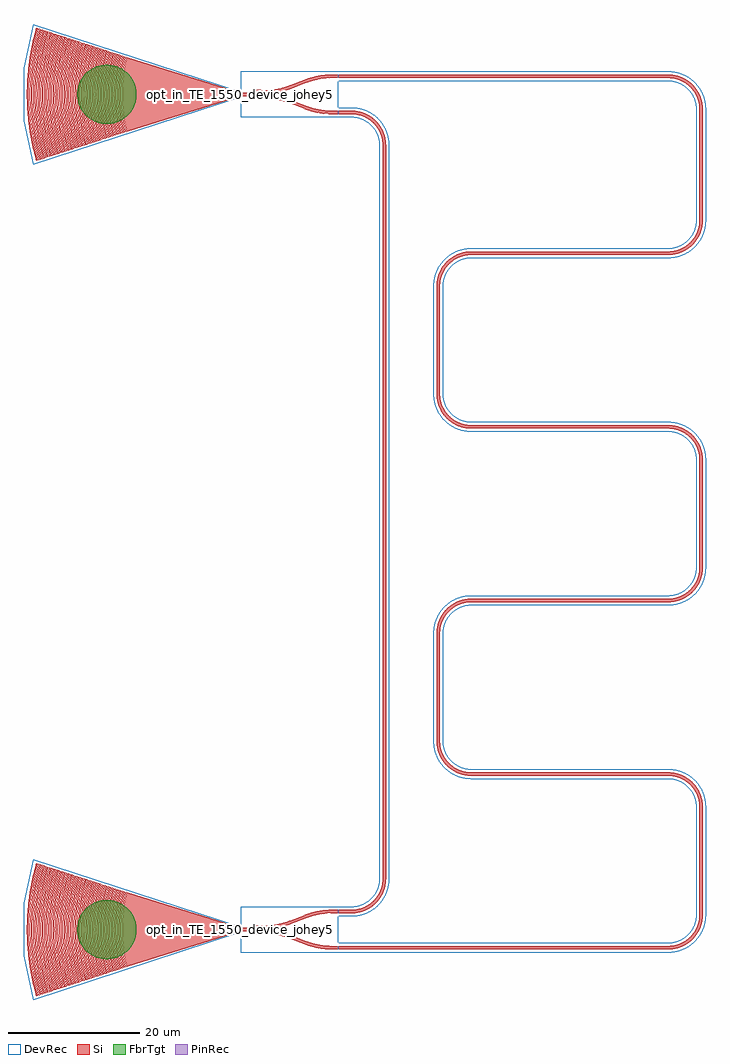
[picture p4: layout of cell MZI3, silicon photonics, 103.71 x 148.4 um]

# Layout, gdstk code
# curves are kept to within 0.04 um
import gdstk
lib = gdstk.Library(unit=1e-6, precision=1e-09)
def R(c, l, rs):  # rectangles x0, y0, x1, y1
    for r in rs: c.add(gdstk.rectangle(r[:2], r[2:], *l))
def P(c, l, *ps):  # polygons
    for p in ps: c.add(gdstk.Polygon(p, *l))
Si = (1, 0)
PinRec = (1, 10)
DevRec = (68, 0)
FbrTgt = (81, 0)

te1550_subgc_neg31_oxide = lib.new_cell('TE1550_SubGC_neg31_oxide')
P(te1550_subgc_neg31_oxide, Si, [(-17.556,-5.704),(-17.743,-4.914),(-17.881,-4.233),(-18.016,-3.437),(-18.095,-2.866),(-18.165,-2.237),(-18.222,-1.549),(-18.256,-0.918),(-18.274,-0.115),(-18.264,0.689),(-18.233,1.377),(-18.176,2.122),(-18.095,2.866),(-18.016,3.437),(-17.881,4.233),(-17.743,4.914),(-17.556,5.704),(-17.481,5.68),(-17.643,5.006),(-17.784,4.329),(-17.922,3.536),(-18.032,2.74),(-18.104,2.056),(-18.148,1.486),(-18.186,0.686),(-18.196,0.114),(-18.189,-0.572),(-18.165,-1.2),(-18.123,-1.828),(-18.058,-2.512),(-17.948,-3.365),(-17.826,-4.102),(-17.668,-4.893),(-17.481,-5.68)],
  [(-17.906,-5.818),(-18.207,-4.492),(-18.452,-2.982),(-18.601,-1.405),(-18.643,-0.117),(-18.601,1.405),(-18.452,2.982),(-18.207,4.492),(-17.906,5.818),(-17.659,5.738),(-17.932,4.544),(-18.188,2.998),(-18.338,1.443),(-18.383,0.116),(-18.338,-1.443),(-18.188,-2.998),(-17.932,-4.544),(-17.659,-5.738)],
  [(-18.084,-5.876),(-18.24,-5.237),(-18.4,-4.479),(-18.525,-3.776),(-18.629,-3.071),(-18.717,-2.305),(-18.772,-1.656),(-18.811,-0.946),(-18.83,-0.118),(-18.823,0.592),(-18.791,1.36),(-18.739,2.069),(-18.644,2.953),(-18.544,3.658),(-18.4,4.479),(-18.24,5.237),(-18.084,5.876),(-18.01,5.852),(-18.204,5.041),(-18.368,4.227),(-18.503,3.409),(-18.609,2.589),(-18.713,1.354),(-18.745,0.589),(-18.752,0.118),(-18.745,-0.589),(-18.713,-1.354),(-18.609,-2.589),(-18.503,-3.409),(-18.368,-4.227),(-18.204,-5.041),(-18.01,-5.852)],
  [(-18.435,-5.99),(-18.77,-4.506),(-19.001,-3.071),(-19.135,-1.748),(-19.199,-0.121),(-19.159,1.387),(-19.001,3.071),(-18.77,4.506),(-18.435,5.99),(-18.188,5.91),(-18.517,4.445),(-18.744,3.029),(-18.896,1.427),(-18.939,0.119),(-18.896,-1.427),(-18.759,-2.911),(-18.517,-4.445),(-18.188,-5.91)],
  [(-18.613,-6.048),(-18.815,-5.211),(-18.963,-4.49),(-19.099,-3.705),(-19.201,-2.979),(-19.269,-2.373),(-19.338,-1.522),(-19.369,-0.913),(-19.386,-0.122),(-19.377,0.67),(-19.349,1.339),(-19.286,2.191),(-19.201,2.979),(-19.099,3.705),(-18.963,4.49),(-18.815,5.211),(-18.613,6.048),(-18.539,6.024),(-18.713,5.309),(-18.876,4.532),(-19.013,3.751),(-19.131,2.907),(-19.203,2.242),(-19.264,1.455),(-19.291,0.91),(-19.308,0.121),(-19.299,-0.667),(-19.271,-1.334),(-19.239,-1.819),(-19.166,-2.605),(-19.076,-3.329),(-18.91,-4.352),(-18.753,-5.13),(-18.539,-6.024)],
  [(-18.964,-6.162),(-19.262,-4.881),(-19.533,-3.283),(-19.689,-1.799),(-19.755,-0.124),(-19.717,1.365),(-19.573,2.974),(-19.334,4.513),(-18.964,6.162),(-18.717,6.081),(-19.046,4.636),(-19.301,3.057),(-19.43,1.775),(-19.495,0.122),(-19.454,-1.408),(-19.301,-3.057),(-19.046,-4.636),(-18.717,-6.081)],
  [(-19.142,-6.22),(-19.337,-5.421),(-19.48,-4.742),(-19.625,-3.936),(-19.726,-3.251),(-19.808,-2.566),(-19.884,-1.691),(-19.924,-0.94),(-19.942,-0.125),(-19.934,0.626),(-19.9,1.44),(-19.833,2.316),(-19.758,3.002),(-19.635,3.874),(-19.516,4.556),(-19.337,5.421),(-19.142,6.22),(-19.068,6.195),(-19.289,5.277),(-19.44,4.538),(-19.587,3.673),(-19.696,2.866),(-19.772,2.12),(-19.822,1.435),(-19.853,0.749),(-19.864,0.125),(-19.853,-0.749),(-19.822,-1.435),(-19.772,-2.12),(-19.696,-2.866),(-19.587,-3.673),(-19.44,-4.538),(-19.289,-5.277),(-19.068,-6.195)],
  [(-19.493,-6.334),(-19.839,-4.829),(-20.107,-3.185),(-20.256,-1.658),(-20.311,-0.128),(-20.268,1.467),(-20.107,3.185),(-19.839,4.829),(-19.493,6.334),(-19.246,6.253),(-19.574,4.829),(-19.842,3.207),(-19.997,1.637),(-20.051,0.126),(-20.005,-1.511),(-19.866,-3.019),(-19.622,-4.581),(-19.246,-6.253)],
  [(-19.671,-6.391),(-19.843,-5.697),(-20.008,-4.937),(-20.149,-4.173),(-20.283,-3.278),(-20.379,-2.444),(-20.438,-1.738),(-20.482,-0.901),(-20.498,-0.129),(-20.482,0.901),(-20.438,1.738),(-20.379,2.444),(-20.283,3.278),(-20.149,4.173),(-20.008,4.937),(-19.843,5.697),(-19.671,6.391),(-19.597,6.367),(-19.797,5.55),(-20.005,4.538),(-20.153,3.648),(-20.246,2.946),(-20.325,2.179),(-20.373,1.539),(-20.404,0.898),(-20.42,0.128),(-20.412,-0.641),(-20.384,-1.347),(-20.336,-2.051),(-20.261,-2.819),(-20.153,-3.648),(-20.017,-4.474),(-19.825,-5.424),(-19.597,-6.367)],
  [(-20.022,-6.505),(-20.392,-4.896),(-20.656,-3.272),(-20.81,-1.704),(-20.867,-0.131),(-20.81,1.704),(-20.656,3.272),(-20.392,4.896),(-20.022,6.505),(-19.774,6.425),(-20.139,4.835),(-20.382,3.36),(-20.542,1.812),(-20.607,0.129),(-20.567,-1.424),(-20.399,-3.231),(-20.139,-4.835),(-19.774,-6.425)],
  [(-20.199,-6.563),(-20.437,-5.591),(-20.599,-4.809),(-20.726,-4.089),(-20.832,-3.367),(-20.931,-2.511),(-20.992,-1.785),(-21.04,-0.86),(-21.054,-0.132),(-21.044,0.728),(-21.001,1.653),(-20.931,2.511),(-20.849,3.235),(-20.726,4.089),(-20.599,4.809),(-20.437,5.591),(-20.199,6.563),(-20.125,6.539),(-20.347,5.635),(-20.523,4.791),(-20.67,3.943),(-20.804,2.961),(-20.878,2.239),(-20.923,1.647),(-20.962,0.857),(-20.976,0.132),(-20.966,-0.725),(-20.935,-1.449),(-20.878,-2.239),(-20.804,-2.961),(-20.67,-3.943),(-20.523,-4.791),(-20.347,-5.635),(-20.125,-6.539)],
  [(-20.55,-6.677),(-20.906,-5.158),(-21.205,-3.359),(-21.355,-1.883),(-21.423,-0.135),(-21.373,1.615),(-21.205,3.359),(-20.906,5.158),(-20.55,6.677),(-20.303,6.597),(-20.705,4.833),(-20.957,3.252),(-21.105,1.728),(-21.163,0.133),(-21.105,-1.728),(-20.957,-3.252),(-20.705,-4.833),(-20.303,-6.597)],
  [(-20.728,-6.735),(-20.912,-6.004),(-21.101,-5.136),(-21.249,-4.331),(-21.372,-3.523),(-21.483,-2.577),(-21.546,-1.832),(-21.593,-0.95),(-21.61,-0.136),(-21.593,0.95),(-21.555,1.696),(-21.483,2.577),(-21.39,3.388),(-21.249,4.331),(-21.101,5.136),(-20.912,6.004),(-20.728,6.735),(-20.654,6.711),(-20.868,5.85),(-21.025,5.118),(-21.195,4.181),(-21.33,3.241),(-21.412,2.5),(-21.473,1.758),(-21.515,0.947),(-21.532,0.135),(-21.525,-0.609),(-21.497,-1.352),(-21.448,-2.095),(-21.37,-2.904),(-21.237,-3.913),(-21.077,-4.85),(-20.868,-5.85),(-20.654,-6.711)],
  [(-21.079,-6.849),(-21.432,-5.359),(-21.736,-3.583),(-21.923,-1.725),(-21.979,-0.138),(-21.923,1.725),(-21.772,3.308),(-21.473,5.155),(-21.079,6.849),(-20.832,6.769),(-21.207,5.162),(-21.47,3.608),(-21.664,1.705),(-21.719,0.136),(-21.664,-1.705),(-21.515,-3.269),(-21.207,-5.162),(-20.832,-6.769)],
  [(-21.257,-6.907),(-21.494,-5.953),(-21.655,-5.199),(-21.817,-4.304),(-21.93,-3.544),(-22.042,-2.574),(-22.105,-1.81),(-22.146,-1.044),(-22.166,-0.139),(-22.159,0.627),(-22.114,1.67),(-22.042,2.574),(-21.957,3.336),(-21.817,4.304),(-21.655,5.199),(-21.494,5.953),(-21.257,6.907),(-21.183,6.883),(-21.419,5.932),(-21.606,5.044),(-21.773,4.083),(-21.888,3.256),(-21.971,2.495),(-22.036,1.665),(-22.073,0.902),(-22.088,0.139),(-22.081,-0.624),(-22.052,-1.387),(-22.001,-2.149),(-21.905,-3.117),(-21.773,-4.083),(-21.606,-5.044),(-21.419,-5.932),(-21.183,-6.883)],
  [(-21.608,-7.021),(-21.985,-5.425),(-22.294,-3.603),(-22.482,-1.698),(-22.535,-0.142),(-22.482,1.698),(-22.294,3.603),(-21.985,5.425),(-21.608,7.021),(-21.361,6.941),(-21.761,5.224),(-22.028,3.631),(-22.218,1.749),(-22.275,0.14),(-22.227,-1.609),(-22.073,-3.283),(-21.788,-5.086),(-21.361,-6.941)],
  [(-21.786,-7.079),(-21.964,-6.381),(-22.167,-5.469),(-22.302,-4.765),(-22.469,-3.704),(-22.565,-2.923),(-22.649,-1.997),(-22.704,-0.999),(-22.722,-0.143),(-22.713,0.714),(-22.677,1.57),(-22.601,2.567),(-22.488,3.562),(-22.374,4.341),(-22.195,5.329),(-22.03,6.101),(-21.786,7.079),(-21.712,7.055),(-21.922,6.22),(-22.161,5.1),(-22.308,4.256),(-22.447,3.267),(-22.53,2.487),(-22.586,1.778),(-22.626,0.996),(-22.644,0.142),(-22.635,-0.711),(-22.595,-1.635),(-22.53,-2.487),(-22.447,-3.267),(-22.308,-4.256),(-22.161,-5.1),(-21.922,-6.22),(-21.712,-7.055)],
  [(-22.137,-7.193),(-22.54,-5.486),(-22.843,-3.692),(-23.011,-2.102),(-23.091,-0.145),(-23.045,1.595),(-22.862,3.547),(-22.54,5.486),(-22.137,7.193),(-21.89,7.112),(-22.287,5.425),(-22.596,3.579),(-22.777,1.721),(-22.831,0.143),(-22.777,-1.721),(-22.596,-3.579),(-22.287,-5.425),(-21.89,-7.112)],
  [(-22.315,-7.25),(-22.549,-6.321),(-22.736,-5.458),(-22.895,-4.592),(-23.047,-3.576),(-23.139,-2.776),(-23.218,-1.827),(-23.262,-0.951),(-23.278,-0.146),(-23.262,0.951),(-23.218,1.827),(-23.139,2.776),(-23.047,3.576),(-22.895,4.592),(-22.736,5.458),(-22.549,6.321),(-22.315,7.25),(-22.24,7.226),(-22.457,6.372),(-22.646,5.512),(-22.843,4.432),(-22.979,3.492),(-23.076,2.621),(-23.145,1.748),(-23.184,0.947),(-23.2,0.146),(-23.194,-0.583),(-23.158,-1.53),(-23.102,-2.33),(-23.006,-3.274),(-22.899,-4.071),(-22.73,-5.081),(-22.507,-6.157),(-22.24,-7.226)],
  [(-22.666,-7.364),(-23.095,-5.545),(-23.392,-3.78),(-23.581,-1.93),(-23.647,-0.149),(-23.586,1.856),(-23.421,3.559),(-23.095,5.545),(-22.666,7.364),(-22.418,7.284),(-22.842,5.484),(-23.145,3.666),(-23.311,2.056),(-23.387,0.147),(-23.336,-1.689),(-23.145,-3.666),(-22.842,-5.484),(-22.418,-7.284)],
  [(-22.843,-7.422),(-23.067,-6.545),(-23.262,-5.662),(-23.441,-4.701),(-23.556,-3.959),(-23.691,-2.842),(-23.762,-2.02),(-23.815,-1.048),(-23.834,-0.15),(-23.82,0.898),(-23.782,1.721),(-23.713,2.618),(-23.606,3.587),(-23.441,4.701),(-23.277,5.588),(-23.067,6.545),(-22.843,7.422),(-22.769,7.398),(-22.992,6.523),(-23.201,5.57),(-23.389,4.538),(-23.538,3.501),(-23.642,2.535),(-23.704,1.716),(-23.742,0.895),(-23.756,0.149),(-23.742,-0.895),(-23.704,-1.716),(-23.642,-2.535),(-23.565,-3.278),(-23.401,-4.464),(-23.23,-5.423),(-22.992,-6.523),(-22.769,-7.398)],
  [(-23.194,-7.536),(-23.605,-5.824),(-23.951,-3.793),(-24.135,-1.976),(-24.203,-0.152),(-24.15,1.748),(-23.961,3.718),(-23.605,5.824),(-23.194,7.536),(-22.947,7.456),(-23.368,5.688),(-23.684,3.827),(-23.876,1.955),(-23.943,0.15),(-23.886,-1.804),(-23.704,-3.678),(-23.383,-5.614),(-22.947,-7.456)],
  [(-23.372,-7.594),(-23.602,-6.696),(-23.802,-5.793),(-23.96,-4.962),(-24.115,-3.975),(-24.219,-3.137),(-24.316,-2.067),(-24.373,-0.996),(-24.39,-0.153),(-24.373,0.996),(-24.316,2.067),(-24.219,3.137),(-24.115,3.975),(-23.96,4.962),(-23.802,5.793),(-23.602,6.696),(-23.372,7.594),(-23.298,7.57),(-23.562,6.525),(-23.801,5.399),(-23.971,4.417),(-24.088,3.583),(-24.188,2.67),(-24.249,1.908),(-24.295,0.993),(-24.312,0.153),(-24.3,-0.84),(-24.263,-1.68),(-24.195,-2.594),(-24.088,-3.583),(-23.971,-4.417),(-23.801,-5.399),(-23.562,-6.525),(-23.298,-7.57)],
  [(-23.723,-7.708),(-24.145,-5.957),(-24.479,-4.035),(-24.678,-2.176),(-24.759,-0.156),(-24.709,1.71),(-24.5,3.88),(-24.145,5.957),(-23.723,7.708),(-23.476,7.628),(-23.908,5.819),(-24.233,3.916),(-24.43,2),(-24.499,0.154),(-24.43,-2),(-24.233,-3.916),(-23.908,-5.819),(-23.476,-7.628)],
  [(-23.901,-7.766),(-24.137,-6.848),(-24.358,-5.848),(-24.518,-4.997),(-24.674,-3.987),(-24.779,-3.13),(-24.87,-2.115),(-24.916,-1.332),(-24.946,-0.157),(-24.931,0.94),(-24.891,1.802),(-24.803,2.896),(-24.695,3.832),(-24.531,4.92),(-24.358,5.848),(-24.137,6.848),(-23.901,7.766),(-23.827,7.742),(-24.098,6.674),(-24.313,5.676),(-24.493,4.672),(-24.638,3.665),(-24.733,2.809),(-24.803,1.952),(-24.848,1.094),(-24.868,0.156),(-24.858,-0.781),(-24.818,-1.718),(-24.733,-2.809),(-24.638,-3.665),(-24.493,-4.672),(-24.313,-5.676),(-24.098,-6.674),(-23.827,-7.742)],
  [(-24.252,-7.88),(-24.717,-5.934),(-25.049,-3.967),(-25.232,-2.225),(-25.315,-0.159),(-25.259,1.828),(-25.07,3.809),(-24.717,5.934),(-24.252,7.88),(-24.005,7.8),(-24.464,5.873),(-24.782,4.005),(-24.973,2.202),(-25.055,0.157),(-25.009,-1.652),(-24.803,-3.848),(-24.464,-5.873),(-24.005,-7.8)],
  [(-24.43,-7.938),(-24.709,-6.843),(-24.866,-6.135),(-25.049,-5.187),(-25.234,-3.997),(-25.339,-3.12),(-25.424,-2.162),(-25.478,-1.202),(-25.502,-0.16),(-25.489,0.881),(-25.435,2.002),(-25.339,3.12),(-25.234,3.997),(-25.049,5.187),(-24.866,6.135),(-24.709,6.843),(-24.43,7.938),(-24.356,7.914),(-24.634,6.822),(-24.839,5.881),(-25,5.014),(-25.178,3.826),(-25.278,2.952),(-25.352,2.075),(-25.397,1.278),(-25.424,0.16),(-25.409,-0.958),(-25.377,-1.677),(-25.293,-2.792),(-25.198,-3.667),(-25.052,-4.697),(-24.839,-5.881),(-24.634,-6.822),(-24.356,-7.914)],
  [(-24.781,-8.052),(-25.241,-6.144),(-25.576,-4.216),(-25.803,-2.031),(-25.871,-0.163),(-25.803,2.031),(-25.609,3.974),(-25.274,5.984),(-24.781,8.052),(-24.533,7.971),(-24.972,6.161),(-25.308,4.253),(-25.544,2.01),(-25.611,0.161),(-25.544,-2.01),(-25.352,-3.934),(-25.021,-5.924),(-24.533,-7.971)],
  [(-24.959,-8.11),(-25.187,-7.232),(-25.423,-6.188),(-25.635,-5.057),(-25.772,-4.165),(-25.891,-3.188),(-25.984,-2.127),(-26.03,-1.31),(-26.058,-0.164),(-26.045,0.9),(-25.995,1.964),(-25.891,3.188),(-25.794,4.002),(-25.635,5.057),(-25.423,6.188),(-25.187,7.232),(-24.959,8.11),(-24.884,8.085),(-25.15,7.051),(-25.38,6.009),(-25.572,4.961),(-25.738,3.828),(-25.846,2.853),(-25.917,1.958),(-25.967,0.898),(-25.98,0.163),(-25.967,-0.898),(-25.932,-1.713),(-25.868,-2.609),(-25.768,-3.585),(-25.624,-4.638),(-25.412,-5.848),(-25.207,-6.811),(-24.884,-8.085)],
  [(-25.31,-8.224),(-25.815,-6.112),(-26.136,-4.224),(-26.357,-2.074),(-26.427,-0.166),(-26.368,1.909),(-26.18,3.894),(-25.815,6.112),(-25.31,8.224),(-25.062,8.143),(-25.512,6.295),(-25.868,4.264),(-26.098,2.054),(-26.167,0.164),(-26.123,-1.644),(-25.923,-3.856),(-25.562,-6.052),(-25.062,-8.143)],
  [(-25.487,-8.281),(-25.761,-7.222),(-25.946,-6.402),(-26.152,-5.33),(-26.321,-4.254),(-26.451,-3.173),(-26.532,-2.256),(-26.589,-1.254),(-26.614,-0.167),(-26.598,1.003),(-26.538,2.172),(-26.451,3.173),(-26.321,4.254),(-26.152,5.33),(-25.946,6.402),(-25.761,7.222),(-25.487,8.281),(-25.413,8.257),(-25.686,7.201),(-25.921,6.137),(-26.118,5.067),(-26.288,3.91),(-26.374,3.164),(-26.466,2.083),(-26.511,1.25),(-26.536,0.167),(-26.525,-0.834),(-26.482,-1.833),(-26.406,-2.831),(-26.288,-3.91),(-26.118,-5.067),(-25.921,-6.137),(-25.686,-7.201),(-25.413,-8.257)],
  [(-25.838,-8.395),(-26.339,-6.323),(-26.685,-4.312),(-26.887,-2.456),(-26.983,-0.17),(-26.917,2.033),(-26.708,4.144),(-26.356,6.24),(-25.838,8.395),(-25.591,8.315),(-26.086,6.263),(-26.44,4.188),(-26.658,2.014),(-26.723,0.168),(-26.658,-2.014),(-26.44,-4.188),(-26.086,-6.263),(-25.591,-8.315)],
  [(-26.016,-8.453),(-26.256,-7.539),(-26.503,-6.451),(-26.697,-5.441),(-26.858,-4.427),(-26.976,-3.494),(-27.086,-2.303),(-27.144,-1.28),(-27.17,-0.085),(-27.156,0.939),(-27.098,2.133),(-27.012,3.154),(-26.893,4.173),(-26.726,5.272),(-26.538,6.283),(-26.256,7.539),(-26.016,8.453),(-25.942,8.429),(-26.261,7.184),(-26.479,6.181),(-26.664,5.173),(-26.838,3.992),(-26.943,3.06),(-27.026,2.042),(-27.078,0.936),(-27.092,0.085),(-27.078,-0.936),(-27.026,-2.042),(-26.943,-3.06),(-26.838,-3.992),(-26.664,-5.173),(-26.479,-6.181),(-26.261,-7.184),(-25.942,-8.429)],
  [(-26.367,-8.567),(-26.897,-6.368),(-27.246,-4.315),(-27.466,-2.162),(-27.539,-0.087),(-27.466,2.162),(-27.246,4.315),(-26.897,6.368),(-26.367,8.567),(-26.12,8.487),(-26.644,6.308),(-26.989,4.275),(-27.218,1.97),(-27.279,0.086),(-27.218,-1.97),(-26.989,-4.275),(-26.644,-6.308),(-26.12,-8.487)],
  [(-26.545,-8.625),(-26.832,-7.522),(-27.079,-6.411),(-27.286,-5.294),(-27.442,-4.258),(-27.573,-3.132),(-27.658,-2.089),(-27.712,-0.958),(-27.726,-0.087),(-27.712,0.958),(-27.658,2.089),(-27.573,3.132),(-27.442,4.258),(-27.286,5.294),(-27.079,6.411),(-26.832,7.522),(-26.545,8.625),(-26.471,8.601),(-26.777,7.416),(-27.003,6.393),(-27.195,5.365),(-27.365,4.246),(-27.487,3.209),(-27.586,1.997),(-27.634,0.955),(-27.648,0.087),(-27.634,-0.955),(-27.586,-1.997),(-27.52,-2.863),(-27.42,-3.815),(-27.265,-4.935),(-27.071,-6.051),(-26.817,-7.246),(-26.63,-8.01),(-26.471,-8.601)],
  [(-26.896,-8.739),(-27.402,-6.67),(-27.783,-4.49),(-28.014,-2.293),(-28.095,-0.088),(-28.026,2.117),(-27.807,4.315),(-27.438,6.496),(-26.896,8.739),(-26.649,8.659),(-27.185,6.436),(-27.55,4.275),(-27.761,2.185),(-27.835,0.087),(-27.761,-2.185),(-27.55,-4.275),(-27.185,-6.436),(-26.649,-8.659)],
  [(-27.074,-8.797),(-27.346,-7.759),(-27.602,-6.627),(-27.802,-5.576),(-27.955,-4.608),(-28.098,-3.46),(-28.194,-2.397),(-28.255,-1.332),(-28.282,-0.089),(-28.265,1.066),(-28.218,2.042),(-28.134,3.106),(-28.015,4.167),(-27.832,5.4),(-27.62,6.539),(-27.346,7.759),(-27.074,8.797),(-27,8.773),(-27.292,7.651),(-27.544,6.521),(-27.77,5.297),(-27.949,4.067),(-28.048,3.186),(-28.129,2.214),(-28.184,1.152),(-28.204,0.089),(-28.187,-1.063),(-28.146,-1.948),(-28.073,-2.921),(-27.949,-4.067),(-27.77,-5.297),(-27.544,-6.521),(-27.292,-7.651),(-27,-8.773)],
  [(-27.425,-8.911),(-27.979,-6.624),(-28.344,-4.489),(-28.568,-2.339),(-28.651,-0.09),(-28.568,2.339),(-28.344,4.489),(-27.979,6.624),(-27.425,8.911),(-27.177,8.83),(-27.708,6.652),(-28.075,4.537),(-28.309,2.317),(-28.391,0.089),(-28.309,-2.317),(-28.075,-4.537),(-27.708,-6.652),(-27.177,-8.83)],
  [(-27.603,-8.969),(-27.881,-7.91),(-28.124,-6.845),(-28.347,-5.685),(-28.529,-4.518),(-28.678,-3.257),(-28.761,-2.264),(-28.814,-1.268),(-28.838,-0.091),(-28.826,0.906),(-28.761,2.264),(-28.678,3.257),(-28.529,4.518),(-28.347,5.685),(-28.124,6.845),(-27.881,7.91),(-27.603,8.969),(-27.528,8.944),(-27.806,7.889),(-28.085,6.649),(-28.316,5.402),(-28.476,4.327),(-28.582,3.428),(-28.677,2.348),(-28.736,1.265),(-28.76,0.09),(-28.748,-0.903),(-28.695,-2.077),(-28.609,-3.158),(-28.499,-4.147),(-28.331,-5.312),(-28.121,-6.472),(-27.87,-7.624),(-27.528,-8.944)],
  [(-27.953,-9.083),(-28.52,-6.752),(-28.893,-4.576),(-29.135,-2.201),(-29.207,-0.092),(-29.135,2.201),(-28.918,4.394),(-28.52,6.752),(-27.953,9.083),(-27.706,9.002),(-28.23,6.871),(-28.624,4.626),(-28.863,2.363),(-28.947,0.091),(-28.887,-2),(-28.649,-4.445),(-28.23,-6.871),(-27.706,-9.002)],
  [(-28.131,-9.14),(-28.416,-8.062),(-28.645,-7.068),(-28.86,-5.977),(-29.078,-4.605),(-29.221,-3.412),(-29.315,-2.307),(-29.373,-1.2),(-29.394,-0.092),(-29.373,1.2),(-29.315,2.307),(-29.221,3.412),(-29.078,4.605),(-28.86,5.977),(-28.645,7.068),(-28.416,8.062),(-28.131,9.14),(-28.057,9.116),(-28.363,7.951),(-28.663,6.596),(-28.892,5.323),(-29.061,4.136),(-29.179,3.036),(-29.255,2.025),(-29.301,1.013),(-29.316,0.092),(-29.301,-1.013),(-29.255,-2.025),(-29.179,-3.036),(-29.061,-4.136),(-28.892,-5.323),(-28.663,-6.596),(-28.363,-7.951),(-28.057,-9.116)],
  [(-28.482,-9.254),(-29.003,-7.156),(-29.416,-4.849),(-29.683,-2.336),(-29.763,-0.094),(-29.683,2.336),(-29.455,4.57),(-29.042,6.972),(-28.482,9.254),(-28.235,9.174),(-28.77,7.003),(-29.173,4.714),(-29.424,2.316),(-29.503,0.093),(-29.424,-2.316),(-29.173,-4.714),(-28.77,-7.003),(-28.235,-9.174)],
  [(-28.66,-9.312),(-28.928,-8.306),(-29.224,-7.016),(-29.421,-5.996),(-29.601,-4.879),(-29.733,-3.851),(-29.863,-2.445),(-29.925,-1.317),(-29.95,-0.094),(-29.937,0.941),(-29.882,2.163),(-29.792,3.289),(-29.64,4.599),(-29.437,5.904),(-29.224,7.016),(-28.928,8.306),(-28.66,9.312),(-28.586,9.288),(-28.898,8.101),(-29.148,6.998),(-29.393,5.703),(-29.563,4.587),(-29.696,3.467),(-29.798,2.251),(-29.847,1.314),(-29.872,0.094),(-29.862,-0.845),(-29.798,-2.251),(-29.696,-3.467),(-29.563,-4.587),(-29.393,-5.703),(-29.148,-6.998),(-28.898,-8.101),(-28.586,-9.288)],
  [(-29.011,-9.426),(-29.563,-7.196),(-29.965,-4.939),(-30.237,-2.38),(-30.319,-0.095),(-30.25,2.19),(-30.017,4.561),(-29.602,7.008),(-29.011,9.426),(-28.764,9.346),(-29.33,7.041),(-29.735,4.709),(-29.978,2.359),(-30.059,0.094),(-29.978,-2.359),(-29.735,-4.709),(-29.33,-7.041),(-28.764,-9.346)],
  [(-29.189,-9.484),(-29.554,-8.085),(-29.784,-7.052),(-29.999,-5.918),(-30.163,-4.874),(-30.295,-3.827),(-30.417,-2.49),(-30.484,-1.246),(-30.506,-0.096),(-30.484,1.246),(-30.417,2.49),(-30.295,3.827),(-30.163,4.874),(-29.999,5.918),(-29.784,7.052),(-29.554,8.085),(-29.189,9.484),(-29.115,9.46),(-29.456,8.158),(-29.708,7.034),(-29.97,5.62),(-30.125,4.577),(-30.248,3.532),(-30.346,2.388),(-30.406,1.242),(-30.428,0.096),(-30.406,-1.242),(-30.346,-2.388),(-30.248,-3.532),(-30.125,-4.577),(-29.97,-5.62),(-29.708,-7.034),(-29.456,-8.158),(-29.115,-9.46)],
  [(-29.54,-9.598),(-30.143,-7.137),(-30.554,-4.741),(-30.798,-2.327),(-30.875,-0.097),(-30.798,2.327),(-30.554,4.741),(-30.143,7.137),(-29.54,9.598),(-29.293,9.518),(-29.89,7.077),(-30.284,4.796),(-30.539,2.307),(-30.615,0.096),(-30.539,-2.307),(-30.284,-4.796),(-29.89,-7.077),(-29.293,-9.518)],
  [(-29.718,-9.656),(-29.997,-8.613),(-30.285,-7.371),(-30.493,-6.315),(-30.712,-4.963),(-30.857,-3.8),(-30.964,-2.633),(-31.036,-1.366),(-31.062,-0.098),(-31.046,1.073),(-30.991,2.243),(-30.897,3.411),(-30.752,4.673),(-30.561,5.929),(-30.345,7.084),(-30.044,8.422),(-29.718,9.656),(-29.643,9.632),(-29.969,8.401),(-30.269,7.066),(-30.501,5.818),(-30.7,4.468),(-30.829,3.306),(-30.907,2.335),(-30.965,1.168),(-30.984,0.097),(-30.965,-1.168),(-30.907,-2.335),(-30.829,-3.306),(-30.7,-4.468),(-30.501,-5.818),(-30.269,-7.066),(-29.969,-8.401),(-29.643,-9.632)],
  [(-30.069,-9.77),(-30.664,-7.362),(-31.09,-4.924),(-31.346,-2.467),(-31.431,-0.099),(-31.346,2.467),(-31.09,4.924),(-30.664,7.362),(-30.069,9.77),(-29.821,9.69),(-30.411,7.301),(-30.833,4.883),(-31.093,2.349),(-31.171,0.098),(-31.093,-2.349),(-30.833,-4.883),(-30.411,-7.301),(-29.821,-9.69)],
  [(-30.246,-9.828),(-30.603,-8.475),(-30.866,-7.308),(-31.107,-6.035),(-31.288,-4.855),(-31.43,-3.67),(-31.539,-2.382),(-31.595,-1.291),(-31.618,-0.099),(-31.595,1.291),(-31.539,2.382),(-31.43,3.67),(-31.288,4.855),(-31.107,6.035),(-30.866,7.308),(-30.603,8.475),(-30.246,9.828),(-30.172,9.804),(-30.528,8.455),(-30.77,7.387),(-30.907,6.705),(-31.047,5.922),(-31.211,4.843),(-31.342,3.759),(-31.461,2.377),(-31.517,1.288),(-31.54,0.099),(-31.529,-0.892),(-31.474,-2.179),(-31.391,-3.266),(-31.25,-4.548),(-31.047,-5.922),(-30.83,-7.095),(-30.528,-8.455),(-30.172,-9.804)],
  [(-30.597,-9.942),(-31.225,-7.393),(-31.625,-5.111),(-31.893,-2.611),(-31.987,-0.1),(-31.907,2.41),(-31.653,4.911),(-31.225,7.393),(-30.597,9.942),(-30.35,9.861),(-30.931,7.529),(-31.396,4.872),(-31.641,2.49),(-31.727,0.1),(-31.641,-2.49),(-31.396,-4.872),(-30.931,-7.529),(-30.35,-9.861)],
  [(-30.775,-9.999),(-31.09,-8.821),(-31.344,-7.734),(-31.564,-6.64),(-31.795,-5.241),(-31.95,-4.036),(-32.072,-2.727),(-32.129,-1.819),(-32.154,-1.213),(-32.174,-0.101),(-32.154,1.213),(-32.1,2.323),(-32.012,3.432),(-31.851,4.84),(-31.686,5.941),(-31.428,7.337),(-31.139,8.624),(-30.775,9.999),(-30.701,9.975),(-31.015,8.8),(-31.18,8.11),(-31.352,7.319),(-31.593,6.027),(-31.774,4.828),(-31.915,3.625),(-32.009,2.519),(-32.069,1.411),(-32.096,0.101),(-32.076,-1.21),(-32.009,-2.519),(-31.915,-3.625),(-31.774,-4.828),(-31.593,-6.027),(-31.352,-7.319),(-31.18,-8.11),(-31.015,-8.8),(-30.701,-9.975)],
  [(-31.126,-10.114),(-31.724,-7.722),(-32.174,-5.199),(-32.447,-2.656),(-32.543,-0.102),(-32.519,1.329),(-32.447,2.656),(-32.174,5.199),(-31.724,7.722),(-31.126,10.114),(-30.879,10.033),(-31.471,7.66),(-31.917,5.158),(-32.188,2.635),(-32.283,0.101),(-32.202,-2.433),(-31.959,-4.856),(-31.534,-7.361),(-31.244,-8.653),(-30.879,-10.033)],
  [(-17.378,-5.646),(-17.678,-4.303),(-17.903,-2.893),(-18.043,-1.42),(-18.087,-0.114),(-18.05,1.306),(-17.924,2.724),(-17.678,4.303),(-17.378,5.646),(0,0.25),(0,-0.25)])
te1550_subgc_neg31_oxide.add(gdstk.Label('Ref: Yun Wang, Optics Express, 08/2014', (-33,0), layer=10, texttype=0))
te1550_subgc_neg31_oxide.add(gdstk.Label('http://dx.doi.org/10.1364/OE.22.020652', (-33,-2), layer=10, texttype=0))
te1550_subgc_neg31_oxide.add(gdstk.Label('TE 1550 -31 deg', (-33,2), layer=10, texttype=0))

ebeam_gc_te1550 = lib.new_cell('ebeam_gc_te1550')
R(ebeam_gc_te1550, Si, [(-0.001,-0.001,0.001,0.001)])
P(ebeam_gc_te1550, DevRec, [(-31.6,-10.7),(-33,-4),(-33,4),(-31.6,10.7),(0,0.4),(0,-0.4)])
P(ebeam_gc_te1550, FbrTgt, [(-20.621,-4.5),(-21.495,-4.37),(-22.326,-4.073),(-23.084,-3.619),(-23.738,-3.026),(-24.264,-2.316),(-24.642,-1.518),(-24.857,-0.661),(-24.9,0.221),(-24.77,1.095),(-24.473,1.926),(-24.019,2.684),(-23.426,3.338),(-22.716,3.864),(-21.918,4.242),(-21.061,4.457),(-20.179,4.5),(-19.305,4.37),(-18.474,4.073),(-17.716,3.619),(-17.062,3.026),(-16.536,2.316),(-16.158,1.518),(-15.943,0.661),(-15.9,-0.221),(-16.03,-1.095),(-16.327,-1.926),(-16.781,-2.684),(-17.374,-3.338),(-18.084,-3.864),(-18.882,-4.242),(-19.739,-4.457)])
ebeam_gc_te1550.add(gdstk.FlexPath([(-0.05,0),(0.05,0)], 0.5, ends="flush", simple_path=True, layer=1, datatype=10))  # PinRec
ebeam_gc_te1550.add(gdstk.Reference(te1550_subgc_neg31_oxide, (0,0)))
ebeam_gc_te1550.add(gdstk.Label('opt1', (0,0), layer=1, texttype=10))
ebeam_gc_te1550.add(gdstk.Label('Component=ebeam_gc_te1550', (-28,-5), layer=68, texttype=0))
ebeam_gc_te1550.add(gdstk.Label('Lumerical_INTERCONNECT_library=Design kits/ebeam', (-29,-7), layer=68, texttype=0))
ebeam_gc_te1550.add(gdstk.Label('fib1', (-20.4,0), layer=1, texttype=10))

ebeam_y_1550 = lib.new_cell('ebeam_y_1550')
R(ebeam_y_1550, Si, [(6.5,-3,7.4,-2.5), (-7.4,-0.25,-6,0.25), (6.5,2.5,7.4,3)])
P(ebeam_y_1550, Si, [(6.458,-3),(6.237,-2.997),(6.237,-2.497),(6.5,-2.5),(6.5,-3)],
  [(5.033,-2.908),(3.59,-2.634),(2.265,-2.21),(2.445,-1.744),(3.731,-2.154),(5.033,-2.404)],
  [(6.233,-2.997),(5.033,-2.908),(5.033,-2.404),(6.237,-2.497)],
  [(2.265,-2.21),(0.055,-1.356),(0.235,-0.89),(2.445,-1.744)],
  [(-0.762,-1.076),(-2.334,-0.724),(-4,-0.6),(-4,-0.1),(-2.381,-0.212),(-0.762,-0.555)],
  [(0.055,-1.356),(-0.762,-1.076),(-0.762,-0.555),(0.235,-0.89)],
  [(6.237,2.497),(6.237,2.997),(6.5,3),(6.5,2.5)],
  [(2.445,1.744),(2.267,2.211),(3.59,2.634),(5.033,2.908),(5.033,2.404),(3.731,2.154)],
  [(5.033,2.404),(5.033,2.908),(6.237,2.997),(6.237,2.497)],
  [(0.235,0.89),(0.055,1.356),(2.265,2.21),(2.445,1.744)],
  [(-4,0.1),(-4,0.6),(-2.334,0.724),(-0.762,1.076),(-0.762,0.555),(-2.381,0.212)],
  [(-0.762,0.555),(-0.762,1.076),(0.055,1.356),(0.235,0.89)],
  [(-5.122,-0.662),(-5.442,-0.374),(-5.808,-0.255),(-6,-0.25),(-6,0.25),(-5.817,0.253),(-5.442,0.374),(-5.122,0.662)],
  [(-4.957,-0.703),(-5.122,-0.662),(-5.122,0.662),(-4.538,0.703),(-4,0.6),(-4,-0.6),(-4.509,-0.701)])
R(ebeam_y_1550, DevRec, [(-7.4,-3.5,7.4,3.5)])
ebeam_y_1550.add(gdstk.FlexPath([(-7.35,0),(-7.45,0)], 0.5, ends="flush", simple_path=True, layer=1, datatype=10))  # PinRec
ebeam_y_1550.add(gdstk.FlexPath([(7.35,2.75),(7.45,2.75)], 0.5, ends="flush", simple_path=True, layer=1, datatype=10))  # PinRec
ebeam_y_1550.add(gdstk.FlexPath([(7.35,-2.75),(7.45,-2.75)], 0.5, ends="flush", simple_path=True, layer=1, datatype=10))  # PinRec
ebeam_y_1550.add(gdstk.Label('Ref: Y Zhang, Opt. Express, 21/1, 2013', (-7.5,-1), layer=10, texttype=0))
ebeam_y_1550.add(gdstk.Label('opt2', (7.4,2.75), layer=1, texttype=10))
ebeam_y_1550.add(gdstk.Label('opt3', (7.4,-2.75), layer=1, texttype=10))
ebeam_y_1550.add(gdstk.Label('opt1', (-7.4,0), layer=1, texttype=10))
ebeam_y_1550.add(gdstk.Label('Component=ebeam_y_1550', (-6,1.5), layer=68, texttype=0))
ebeam_y_1550.add(gdstk.Label('Lumerical_INTERCONNECT_library=Design kits/ebeam', (-6.86,-2.19), layer=68, texttype=0))

mzi3_short_arm = lib.new_cell('MZI3_short_arm')
P(mzi3_short_arm, Si, [(14.8,2.5),(16.981,2.503),(17.791,2.594),(18.83,2.908),(19.856,3.481),(20.73,4.269),(21.449,5.31),(21.875,6.406),(22.049,7.659),(22.043,119.522),(21.897,120.506),(21.569,121.446),(21.069,122.306),(20.415,123.057),(19.707,123.622),(18.83,124.092),(17.88,124.388),(16.891,124.499),(14.8,124.5),(14.8,124),(16.882,123.999),(17.535,123.943),(18.561,123.662),(19.43,123.205),(20.301,122.461),(20.927,121.601),(21.347,120.624),(21.544,119.496),(21.549,7.668),(21.412,6.613),(21.043,5.615),(20.462,4.725),(19.632,3.936),(18.637,3.369),(17.697,3.085),(16.964,3.003),(14.8,3)])
P(mzi3_short_arm, DevRec, [(14.8,2),(16.998,2.003),(17.983,2.123),(19.115,2.486),(20.228,3.133),(20.759,3.58),(21.233,4.088),(21.937,5.166),(22.383,6.374),(22.549,7.651),(22.547,119.448),(22.406,120.53),(22.064,121.565),(21.532,122.516),(20.831,123.351),(19.984,124.038),(19.023,124.553),(17.983,124.877),(16.899,124.999),(14.8,125),(14.8,123.5),(17.458,123.449),(18.307,123.224),(19.154,122.789),(19.932,122.123),(20.529,121.29),(20.889,120.409),(21.047,119.397),(21.049,7.677),(20.943,6.804),(20.66,5.972),(20.212,5.216),(19.673,4.618),(18.84,4.021),(18.307,3.776),(17.746,3.607),(16.947,3.503),(14.8,3.5)])
mzi3_short_arm.add(gdstk.FlexPath([(14.85,2.75),(14.75,2.75)], 0.5, ends="flush", simple_path=True, layer=1, datatype=10))  # PinRec
mzi3_short_arm.add(gdstk.FlexPath([(14.85,124.25),(14.75,124.25)], 0.5, ends="flush", simple_path=True, layer=1, datatype=10))  # PinRec
mzi3_short_arm.add(gdstk.Label('pin1', (14.8,2.75), layer=1, texttype=10))
mzi3_short_arm.add(gdstk.Label('pin2', (14.8,124.25), layer=1, texttype=10))

mzi3_long_arm = lib.new_cell('MZI3_long_arm')
P(mzi3_long_arm, Si, [(14.8,-3),(65.233,-2.993),(65.952,-2.906),(66.653,-2.72),(67.401,-2.399),(68.018,-2.019),(68.642,-1.494),(69.122,-0.952),(69.523,-0.349),(69.837,0.304),(70.117,1.259),(70.211,2.159),(70.192,19.103),(69.987,20.169),(69.523,21.249),(68.831,22.199),(68.018,22.919),(67.401,23.299),(66.653,23.62),(65.952,23.806),(65.143,23.897),(35.001,23.9),(34.265,23.957),(33.47,24.153),(32.72,24.483),(32.038,24.936),(31.391,25.562),(30.956,26.158),(30.588,26.889),(30.335,27.753),(30.251,28.568),(30.275,45.541),(30.503,46.58),(30.956,47.542),(31.612,48.38),(32.508,49.094),(33.626,49.597),(34.265,49.743),(34.918,49.799),(65.594,49.838),(66.306,49.975),(66.991,50.208),(67.639,50.534),(68.235,50.945),(68.769,51.435),(69.23,51.994),(69.61,52.61),(69.902,53.273),(70.117,54.059),(70.211,54.959),(70.192,71.903),(69.987,72.969),(69.523,74.049),(68.831,74.999),(68.018,75.719),(67.401,76.099),(66.653,76.42),(65.952,76.606),(65.143,76.697),(35.001,76.7),(34.346,76.745),(33.548,76.927),(32.793,77.244),(32.168,77.636),(31.499,78.239),(31,78.888),(30.619,79.613),(30.369,80.393),(30.256,81.204),(30.275,98.341),(30.503,99.38),(30.956,100.342),(31.612,101.18),(32.508,101.894),(33.626,102.397),(34.265,102.543),(34.918,102.599),(65.324,102.613),(66.48,102.824),(67.481,103.244),(68.443,103.92),(69.177,104.72),(69.61,105.41),(69.902,106.073),(70.117,106.859),(70.204,107.578),(70.192,125.203),(70.08,125.918),(69.87,126.612),(69.567,127.27),(69.177,127.88),(68.706,128.43),(68.163,128.911),(67.56,129.312),(66.908,129.626),(65.952,129.906),(64.963,130),(14.8,130),(14.8,129.5),(65.207,129.494),(65.858,129.415),(66.492,129.247),(67.169,128.956),(67.727,128.612),(68.232,128.195),(68.675,127.712),(69.048,127.172),(69.342,126.587),(69.61,125.727),(69.711,124.832),(69.709,107.686),(69.61,106.873),(69.373,106.089),(69.005,105.358),(68.517,104.7),(67.793,104.036),(67.022,103.57),(66.178,103.258),(65.289,103.111),(34.819,103.097),(34.188,103.037),(33.481,102.876),(32.323,102.366),(31.385,101.657),(30.628,100.757),(30.091,99.712),(29.788,98.483),(29.75,81.449),(29.844,80.459),(30.091,79.588),(30.484,78.773),(31.011,78.037),(31.656,77.402),(32.401,76.888),(33.223,76.51),(34.188,76.263),(34.999,76.2),(65.125,76.197),(65.858,76.115),(66.492,75.947),(67.169,75.656),(67.727,75.312),(68.517,74.6),(69.089,73.801),(69.484,72.902),(69.694,71.859),(69.711,54.968),(69.61,54.073),(69.373,53.289),(69.089,52.699),(68.726,52.153),(68.291,51.662),(67.793,51.236),(66.722,50.638),(66.098,50.438),(65.453,50.325),(34.819,50.297),(34.188,50.237),(33.481,50.076),(32.804,49.819),(32.245,49.519),(31.32,48.794),(30.579,47.881),(30.06,46.827),(29.788,45.683),(29.75,28.649),(29.844,27.659),(30.091,26.788),(30.484,25.973),(31.011,25.237),(31.656,24.602),(32.401,24.088),(33.223,23.71),(34.188,23.463),(34.999,23.4),(65.125,23.397),(65.858,23.315),(66.492,23.147),(67.169,22.856),(67.727,22.512),(68.517,21.8),(69.089,21.001),(69.484,20.102),(69.694,19.059),(69.711,2.168),(69.61,1.273),(69.373,0.489),(69.089,-0.101),(68.726,-0.647),(68.291,-1.138),(67.793,-1.564),(67.169,-1.956),(66.569,-2.22),(65.858,-2.415),(65.289,-2.489),(14.8,-2.5)])
P(mzi3_long_arm, DevRec, [(14.8,-3.5),(65.358,-3.486),(66.144,-3.377),(66.907,-3.161),(67.721,-2.795),(68.389,-2.367),(68.992,-1.851),(69.518,-1.257),(69.958,-0.596),(70.302,0.119),(70.589,1.067),(70.711,2.151),(70.69,19.146),(70.466,20.313),(69.958,21.496),(69.199,22.537),(68.309,23.325),(67.545,23.787),(66.814,24.094),(65.949,24.315),(65.16,24.397),(34.415,24.44),(33.631,24.627),(32.96,24.921),(32.35,25.327),(31.819,25.832),(31.382,26.42),(31.026,27.143),(30.826,27.848),(30.751,28.577),(30.773,45.489),(30.977,46.419),(31.382,47.28),(31.969,48.029),(32.77,48.668),(33.289,48.94),(33.841,49.139),(34.927,49.299),(64.965,49.3),(65.655,49.342),(66.434,49.492),(67.185,49.747),(67.894,50.104),(68.547,50.554),(69.131,51.091),(69.637,51.702),(70.053,52.378),(70.372,53.104),(70.626,54.062),(70.711,54.951),(70.69,71.946),(70.466,73.113),(69.958,74.296),(69.199,75.337),(68.309,76.125),(67.545,76.587),(66.814,76.894),(65.949,77.115),(65.16,77.197),(34.415,77.24),(33.631,77.427),(32.96,77.721),(32.35,78.127),(31.868,78.577),(31.421,79.158),(31.081,79.807),(30.857,80.504),(30.756,81.23),(30.773,98.289),(31.001,99.288),(31.421,100.142),(32.021,100.881),(32.833,101.506),(33.841,101.939),(34.927,102.099),(65.457,102.121),(66.625,102.346),(67.721,102.805),(68.7,103.481),(69.578,104.422),(70.006,105.09),(70.372,105.904),(70.589,106.667),(70.704,107.552),(70.681,125.344),(70.567,126.03),(70.338,126.789),(70.006,127.51),(69.578,128.178),(69.062,128.781),(68.468,129.307),(67.808,129.746),(67.093,130.09),(66.047,130.397),(64.965,130.5),(14.8,130.5),(14.8,129),(65.181,128.994),(65.764,128.924),(66.33,128.773),(66.871,128.547),(67.376,128.248),(68.238,127.457),(68.579,126.98),(68.881,126.393),(69.121,125.624),(69.211,124.823),(69.209,107.703),(69.121,106.976),(68.909,106.275),(68.579,105.62),(68.143,105.032),(67.554,104.482),(66.871,104.053),(66.12,103.761),(65.255,103.61),(34.802,103.597),(34.012,103.515),(33.337,103.354),(32.685,103.114),(31.983,102.745),(30.969,101.951),(30.158,100.951),(29.589,99.796),(29.292,98.543),(29.25,97.853),(29.25,81.447),(29.335,80.462),(29.589,79.504),(30.004,78.604),(30.567,77.788),(31.262,77.081),(32.068,76.504),(33.054,76.039),(34.012,75.785),(34.997,75.7),(65.035,75.699),(65.619,75.649),(66.261,75.496),(66.871,75.247),(67.376,74.948),(68.094,74.323),(68.654,73.554),(69.03,72.679),(69.196,71.816),(69.211,54.977),(69.121,54.176),(68.909,53.475),(68.374,52.516),(67.941,52.019),(67.495,51.638),(67.001,51.321),(66.469,51.076),(65.328,50.816),(34.802,50.797),(34.012,50.715),(33.337,50.554),(32.685,50.314),(31.983,49.945),(30.969,49.151),(30.158,48.151),(29.589,46.996),(29.292,45.743),(29.25,45.053),(29.25,28.647),(29.335,27.662),(29.589,26.704),(30.004,25.804),(30.567,24.988),(31.262,24.281),(32.068,23.704),(33.054,23.239),(34.012,22.985),(34.997,22.9),(65.035,22.899),(65.619,22.849),(66.261,22.696),(66.871,22.447),(67.376,22.148),(68.094,21.523),(68.654,20.754),(69.03,19.879),(69.196,19.016),(69.211,2.177),(69.121,1.376),(68.909,0.675),(68.374,-0.284),(67.941,-0.781),(67.495,-1.162),(67.001,-1.479),(66.469,-1.724),(65.836,-1.909),(65.255,-1.99),(14.8,-2)])
mzi3_long_arm.add(gdstk.FlexPath([(14.85,-2.75),(14.75,-2.75)], 0.5, ends="flush", simple_path=True, layer=1, datatype=10))  # PinRec
mzi3_long_arm.add(gdstk.FlexPath([(14.85,129.75),(14.75,129.75)], 0.5, ends="flush", simple_path=True, layer=1, datatype=10))  # PinRec
mzi3_long_arm.add(gdstk.Label('pin1', (14.8,-2.75), layer=1, texttype=10))
mzi3_long_arm.add(gdstk.Label('pin2', (14.8,129.75), layer=1, texttype=10))

mzi3 = lib.new_cell('MZI3')
mzi3.add(gdstk.Reference(ebeam_gc_te1550, (0,0)))
mzi3.add(gdstk.Reference(ebeam_gc_te1550, (0,127)))
mzi3.add(gdstk.Reference(ebeam_y_1550, (7.4,0)))
mzi3.add(gdstk.Reference(ebeam_y_1550, (7.4,127)))
mzi3.add(gdstk.Reference(mzi3_short_arm, (0,0)))
mzi3.add(gdstk.Reference(mzi3_long_arm, (0,0)))
mzi3.add(gdstk.Label('opt_in_TE_1550_device_johey5_MZI3a', (0,0), layer=10, texttype=0))
mzi3.add(gdstk.Label('opt_in_TE_1550_device_johey5_MZI3b', (0,127), layer=10, texttype=0))

lib.write_gds('MZI3.gds')
